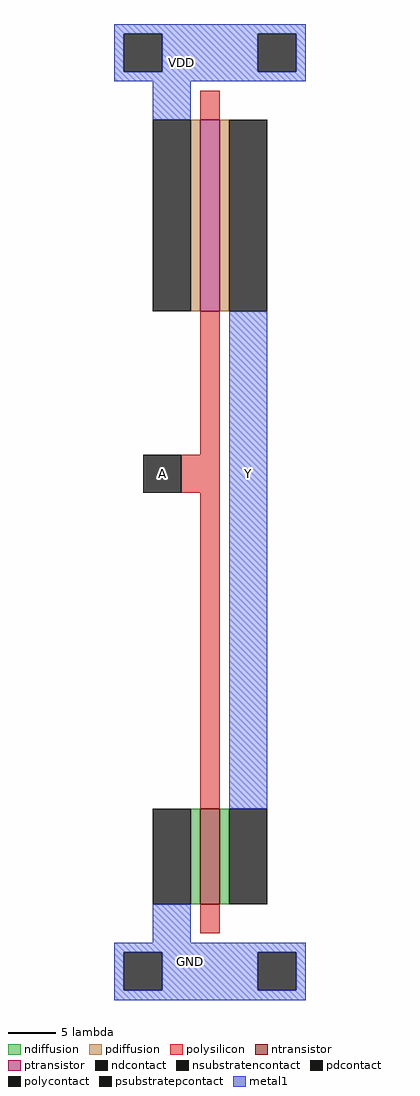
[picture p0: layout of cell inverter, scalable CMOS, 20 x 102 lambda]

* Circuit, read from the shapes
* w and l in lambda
.subckt inverter A GND VDD Y
M1 Y A GND GND nfet w=10 l=2
M2 Y A VDD VDD pfet w=20 l=2
.ends

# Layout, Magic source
magic
tech scmos
<< ntransistor >>
rect 5 -91 7 -81
<< ptransistor >>
rect 5 -29 7 -9
<< ndiffusion >>
rect 4 -91 5 -81
rect 7 -91 8 -81
<< pdiffusion >>
rect 4 -29 5 -9
rect 7 -29 8 -9
<< ndcontact >>
rect 0 -91 4 -81
rect 8 -91 12 -81
<< pdcontact >>
rect 0 -29 4 -9
rect 8 -29 12 -9
<< psubstratepcontact >>
rect -3 -100 1 -96
rect 11 -100 15 -96
<< nsubstratencontact >>
rect -3 -4 1 0
rect 11 -4 15 0
<< polysilicon >>
rect 5 -9 7 -6
rect 5 -44 7 -29
rect 3 -48 7 -44
rect 5 -81 7 -48
rect 5 -94 7 -91
<< polycontact >>
rect -1 -48 3 -44
<< metal1 >>
rect -4 0 16 1
rect -4 -4 -3 0
rect 1 -4 11 0
rect 15 -4 16 0
rect -4 -5 16 -4
rect 0 -9 4 -5
rect 8 -81 12 -29
rect 0 -95 4 -91
rect -4 -96 16 -95
rect -4 -100 -3 -96
rect 1 -100 11 -96
rect 15 -100 16 -96
rect -4 -101 16 -100
<< labels >>
rlabel metal1 3 -3 3 -3 5 VDD
rlabel metal1 10 -46 10 -46 1 Y
rlabel polycontact 1 -46 1 -46 3 A
rlabel metal1 4 -97 4 -97 1 GND
<< end >>
